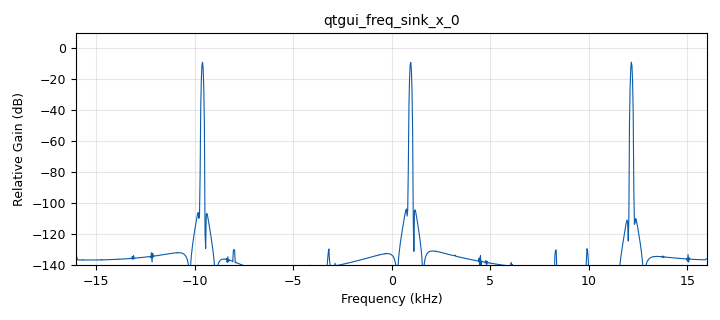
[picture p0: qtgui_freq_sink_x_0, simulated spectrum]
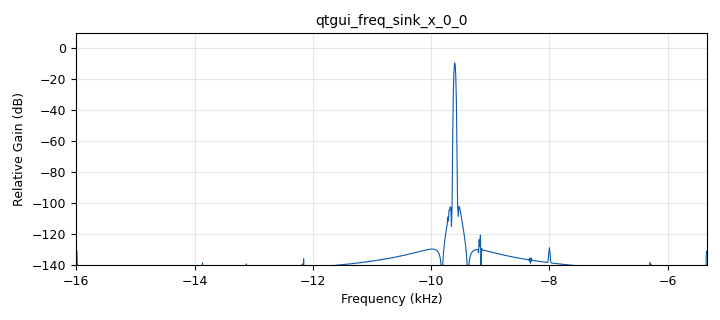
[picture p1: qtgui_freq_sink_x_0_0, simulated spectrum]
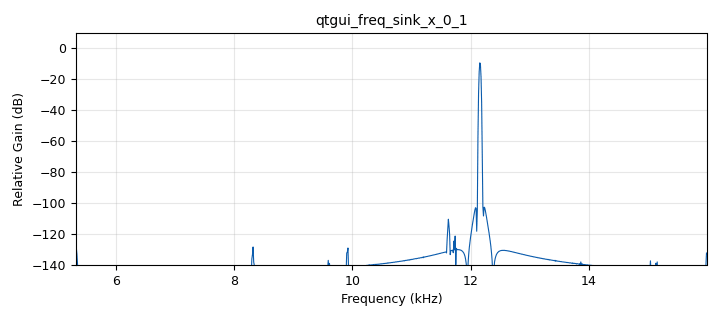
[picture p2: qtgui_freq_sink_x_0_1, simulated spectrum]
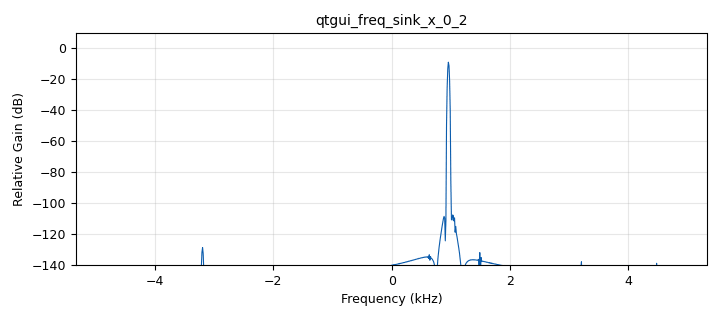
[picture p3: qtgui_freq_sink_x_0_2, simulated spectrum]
options:
  parameters:
    category: Custom
    generate_options: qt_gui
    id: top_block
    output_language: python
  states: {}

blocks:
- name: samp_rate
  id: variable
  parameters:
    value: '32000'
  states: {}
- name: analog_sig_source_x_0
  id: analog_sig_source_x
  parameters:
    amp: '1'
    freq: 0.03 * samp_rate
    offset: '0'
    samp_rate: samp_rate
    type: complex
    waveform: analog.GR_COS_WAVE
  states: {}
- name: analog_sig_source_x_1
  id: analog_sig_source_x
  parameters:
    amp: '1'
    freq: 0.38 * samp_rate
    offset: '0'
    samp_rate: samp_rate
    type: complex
    waveform: analog.GR_COS_WAVE
  states: {}
- name: analog_sig_source_x_2
  id: analog_sig_source_x
  parameters:
    amp: '1'
    freq: 0.70*samp_rate
    offset: '0'
    samp_rate: samp_rate
    type: complex
    waveform: analog.GR_COS_WAVE
  states: {}
- name: blocks_add_xx_0
  id: blocks_add_xx
  parameters:
    num_inputs: '3'
    type: complex
  states: {}
- name: pfb_channelizer_hier_ccf_0
  id: pfb_channelizer_hier_ccf
  parameters:
    atten: '100'
    bw: '0.6'
    n_filterbanks: '4'
    outchans: None
    ripple: '0.1'
    taps: None
    tb: '0.2'
  states: {}
- name: qtgui_freq_sink_x_0
  id: qtgui_freq_sink_x
  parameters:
    bw: samp_rate
    fc: '0'
    fftsize: '1024'
    name: ''
    showports: 'True'
    type: complex
    wintype: firdes.WIN_BLACKMAN_hARRIS
  states: {}
- name: qtgui_freq_sink_x_0_0
  id: qtgui_freq_sink_x
  parameters:
    bw: samp_rate/3.0
    fc: '-samp_rate/3.0'
    fftsize: '1024'
    legend: 'False'
    name: ''
    showports: 'True'
    type: complex
    wintype: firdes.WIN_BLACKMAN_hARRIS
  states: {}
- name: qtgui_freq_sink_x_0_1
  id: qtgui_freq_sink_x
  parameters:
    bw: samp_rate/3.0
    fc: samp_rate/3.0
    fftsize: '1024'
    legend: 'False'
    name: ''
    showports: 'True'
    type: complex
    wintype: firdes.WIN_BLACKMAN_hARRIS
  states: {}
- name: qtgui_freq_sink_x_0_2
  id: qtgui_freq_sink_x
  parameters:
    bw: samp_rate/3.0
    fc: '0'
    fftsize: '1024'
    legend: 'False'
    name: ''
    showports: 'True'
    type: complex
    wintype: firdes.WIN_BLACKMAN_hARRIS
  states: {}

connections:
- [analog_sig_source_x_0, '0', blocks_add_xx_0, '0']
- [analog_sig_source_x_1, '0', blocks_add_xx_0, '1']
- [analog_sig_source_x_2, '0', blocks_add_xx_0, '2']
- [blocks_add_xx_0, '0', pfb_channelizer_hier_ccf_0, '0']
- [blocks_add_xx_0, '0', qtgui_freq_sink_x_0, '0']
- [pfb_channelizer_hier_ccf_0, '0', qtgui_freq_sink_x_0_2, '0']
- [pfb_channelizer_hier_ccf_0, '1', qtgui_freq_sink_x_0_1, '0']
- [pfb_channelizer_hier_ccf_0, '2', qtgui_freq_sink_x_0_0, '0']

metadata:
  file_format: 1
